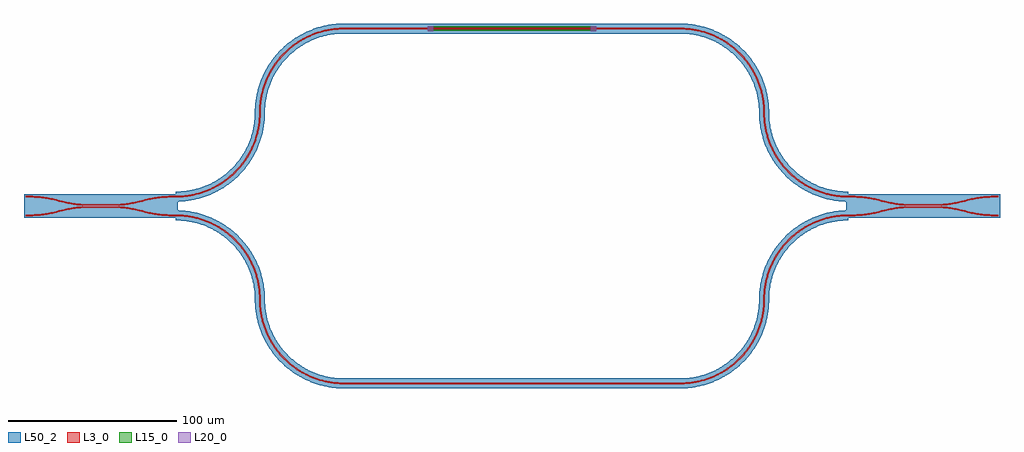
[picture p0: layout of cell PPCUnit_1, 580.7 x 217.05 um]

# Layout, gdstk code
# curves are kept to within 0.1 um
import gdstk
lib = gdstk.Library(unit=1e-6, precision=1e-09)
def R(c, l, rs):  # rectangles x0, y0, x1, y1
    for r in rs: c.add(gdstk.rectangle(r[:2], r[2:], *l))
def P(c, l, *ps):  # polygons
    for p in ps: c.add(gdstk.Polygon(p, *l))
L3_0 = (3, 0)
L15_0 = (15, 0)
L20_0 = (20, 0)
L50_2 = (50, 2)

sin_directional_coupler_ = lib.new_cell('SIN_DIRECTIONAL_COUPLER_S_9348')
P(sin_directional_coupler_, L3_0, [(-44.674,6.025),(-39.419,5.935),(-33.984,5.437),(-28.61,4.495),(-21.596,2.773),(-17.374,1.925),(-12.033,1.256),(-7.731,1.04),(7.731,1.04),(12.033,1.256),(18.435,2.111),(29.678,4.718),(35.068,5.573),(39.419,5.935),(44.674,6.025),(44.674,5.125),(38.389,4.974),(33.038,4.394),(28.802,3.615),(19.67,1.432),(13.195,0.459),(7.747,0.14),(-7.747,0.14),(-13.195,0.459),(-17.522,1.037),(-21.802,1.897),(-28.802,3.615),(-34.104,4.545),(-39.465,5.037),(-44.674,5.125)],
  [(-44.674,-5.125),(-38.389,-4.974),(-33.038,-4.394),(-28.802,-3.615),(-19.67,-1.432),(-13.195,-0.459),(-7.747,-0.14),(7.747,-0.14),(13.195,-0.459),(17.522,-1.037),(21.802,-1.897),(28.802,-3.615),(34.104,-4.545),(39.465,-5.037),(44.674,-5.125),(44.674,-6.025),(39.419,-5.935),(33.984,-5.437),(28.61,-4.495),(21.596,-2.773),(17.374,-1.925),(12.033,-1.256),(7.731,-1.04),(-7.731,-1.04),(-12.033,-1.256),(-18.435,-2.111),(-29.678,-4.718),(-35.068,-5.573),(-39.419,-5.935),(-44.674,-6.025)])
R(sin_directional_coupler_, L50_2, [(-45.674,-7.025,45.674,7.025)])

heated_waveguide_1 = lib.new_cell('HEATED_WAVEGUIDE_1')
R(heated_waveguide_1, L3_0, [(0,-0.45,100,0.45)])
R(heated_waveguide_1, L15_0, [(0,-1.3,100,-0.7), (0,0.7,100,1.3)])
R(heated_waveguide_1, L20_0, [(0,-1.5,3,1.5), (97,-1.5,100,1.5)])
P(heated_waveguide_1, L50_2, [(0,-2.95),(100,-2.95),(100,-0.45),(100,0.45),(100,2.95),(0,2.95),(0,0.45),(0,-0.45)])

wg_trace_1 = lib.new_cell('WG_TRACE_1')
R(wg_trace_1, L3_0, [(0,-0.45,100,0.45)])
P(wg_trace_1, L50_2, [(0,-2.95),(100,-2.95),(100,-0.45),(100,0.45),(100,2.95),(0,2.95),(0,0.45),(0,-0.45)])

ppcunit_1_ht_in_to_dc_1_ = lib.new_cell('PPCUnit_1_ht_in_to_dc_1_out2')
P(ppcunit_1_ht_in_to_dc_1_, L3_0, [(239.348,111.6),(189.346,111.6),(184.075,111.324),(180.587,110.834),(177.999,110.307),(175.442,109.646),(172.093,108.558),(168.828,107.238),(166.444,106.101),(163.364,104.394),(161.137,102.975),(158.288,100.905),(155.59,98.642),(153.057,96.196),(150.701,93.579),(148.533,90.804),(146.564,87.884),(144.803,84.835),(143.26,81.67),(141.94,78.405),(141.102,75.9),(140.191,72.499),(139.664,69.911),(139.021,64.669),(138.83,58.557),(138.529,55.111),(137.988,51.695),(136.979,47.492),(135.29,42.588),(133.497,38.655),(130.904,34.163),(128.394,30.644),(126.744,28.642),(124.385,26.113),(120.531,22.642),(116.335,19.594),(111.843,17.001),(107.91,15.208),(103.006,13.519),(99.65,12.683),(96.244,12.082),(92.804,11.721),(89.348,11.6),(89.348,10.7),(94.621,10.976),(98.109,11.466),(100.697,11.993),(103.254,12.654),(106.603,13.742),(111.464,15.806),(113.807,17.025),(116.825,18.839),(121.097,21.943),(125.022,25.476),(126.84,27.392),(129.103,30.09),(131.659,33.673),(134.299,38.246),(136.447,43.07),(137.844,47.244),(138.696,50.661),(139.422,55.002),(139.729,58.51),(139.919,64.606),(140.551,69.754),(141.068,72.296),(141.963,75.637),(142.786,78.097),(144.082,81.304),(145.598,84.412),(147.327,87.407),(149.261,90.275),(151.391,93),(153.705,95.57),(156.193,97.973),(158.842,100.196),(161.64,102.229),(164.573,104.062),(166.853,105.299),(169.987,106.761),(172.401,107.712),(175.69,108.781),(178.202,109.43),(183.309,110.331),(186.755,110.632),(189.35,110.7),(239.348,110.7)])
P(ppcunit_1_ht_in_to_dc_1_, L50_2, [(239.348,114.1),(189.335,114.1),(182.895,113.705),(176.538,112.527),(170.372,110.583),(164.489,107.902),(158.977,104.524),(156.025,102.3),(153.236,99.875),(150.623,97.262),(148.198,94.473),(145.974,91.521),(143.961,88.421),(140.976,82.687),(138.712,76.631),(137.202,70.345),(136.527,64.844),(136.14,56.232),(135.683,52.98),(134.795,48.973),(133.56,45.058),(131.99,41.266),(129.678,36.918),(127.412,33.495),(124.313,29.667),(120.216,25.641),(115.658,22.144),(110.708,19.228),(105.44,16.938),(99.932,15.306),(94.266,14.358),(89.348,14.1),(89.348,8.2),(94.883,8.49),(100.357,9.357),(105.71,10.791),(111.726,13.161),(116.619,15.763),(121.947,19.425),(126.13,23.061),(130.498,27.827),(133.756,32.311),(136.1,36.291),(138.089,40.461),(139.984,45.669),(141.141,50.141),(141.903,54.697),(142.226,58.379),(142.413,64.432),(143.013,69.32),(144.354,74.906),(146.366,80.287),(147.805,83.239),(149.447,86.083),(152.783,90.759),(154.938,93.238),(157.26,95.56),(159.739,97.715),(162.361,99.691),(167.259,102.693),(172.487,105.075),(175.592,106.144),(178.764,106.994),(184.43,107.942),(189.361,108.2),(239.348,108.2)])

ppcunit_1_rg_in_to_dc_1_ = lib.new_cell('PPCUnit_1_rg_in_to_dc_1_out1')
P(ppcunit_1_rg_in_to_dc_1_, L3_0, [(239.348,-99.55),(189.35,-99.55),(184.225,-99.284),(178.322,-98.308),(172.58,-96.626),(167.082,-94.265),(161.908,-91.259),(159.127,-89.267),(156.49,-87.089),(154.01,-84.733),(151.698,-82.213),(149.565,-79.538),(147.622,-76.723),(145.878,-73.781),(144.341,-70.725),(142.171,-65.149),(140.689,-59.352),(139.982,-54.271),(139.73,-47.389),(139.43,-43.919),(138.72,-39.624),(137.641,-35.407),(136.204,-31.299),(134.019,-26.555),(131.832,-22.791),(128.791,-18.545),(125.328,-14.636),(122.803,-12.238),(120.803,-10.557),(116.557,-7.516),(113.561,-5.74),(111.237,-4.546),(108.049,-3.144),(105.599,-2.239),(100.574,-0.815),(98.013,-0.3),(94.564,0.18),(89.348,0.45),(89.348,-0.45),(92.767,-0.568),(96.169,-0.922),(99.538,-1.509),(102.86,-2.328),(107.716,-3.98),(112.375,-6.126),(116.788,-8.741),(120.906,-11.799),(124.686,-15.267),(128.615,-19.779),(131.529,-24.001),(133.613,-27.734),(135.368,-31.632),(137.02,-36.488),(137.839,-39.81),(138.537,-44.027),(138.832,-47.435),(139.086,-54.349),(139.805,-59.522),(140.364,-62.073),(141.314,-65.424),(142.176,-67.89),(143.523,-71.102),(145.088,-74.213),(146.864,-77.209),(148.842,-80.075),(151.014,-82.798),(153.368,-85.364),(155.893,-87.762),(158.578,-89.98),(161.41,-92.008),(163.622,-93.398),(166.677,-95.069),(169.841,-96.526),(172.275,-97.473),(175.591,-98.538),(178.122,-99.185),(180.683,-99.7),(184.132,-100.18),(189.346,-100.45),(239.348,-100.45)])
P(ppcunit_1_rg_in_to_dc_1_, L50_2, [(239.348,-97.05),(189.361,-97.05),(184.484,-96.798),(178.878,-95.87),(173.426,-94.274),(168.205,-92.032),(163.293,-89.177),(160.652,-87.286),(158.148,-85.217),(155.793,-82.981),(153.597,-80.587),(151.572,-78.048),(149.727,-75.375),(148.071,-72.581),(146.611,-69.679),(144.551,-64.385),(143.144,-58.88),(142.473,-54.056),(142.227,-47.259),(141.912,-43.618),(141.166,-39.11),(140.035,-34.684),(138.18,-29.526),(136.233,-25.393),(133.438,-20.678),(130.746,-16.986),(127.111,-12.883),(122.362,-8.602),(117.131,-4.924),(112.322,-2.294),(107.267,-0.174),(101.131,1.623),(95.73,2.564),(89.348,2.95),(89.348,-2.95),(95.019,-3.293),(100.608,-4.317),(106.032,-6.008),(111.213,-8.339),(115.403,-10.823),(119.935,-14.249),(124.022,-18.197),(127.602,-22.608),(129.821,-26.008),(131.738,-29.586),(133.34,-33.316),(134.615,-37.17),(135.392,-40.324),(136.055,-44.329),(136.335,-47.565),(136.595,-54.564),(137.35,-59.994),(138.933,-66.189),(141.252,-72.147),(142.895,-75.413),(144.759,-78.557),(146.835,-81.565),(149.114,-84.423),(151.585,-87.117),(154.236,-89.634),(157.054,-91.962),(160.026,-94.09),(163.137,-96.008),(166.374,-97.706),(169.72,-99.178),(173.159,-100.415),(176.676,-101.411),(180.253,-102.163),(183.874,-102.666),(187.52,-102.919),(239.348,-102.95)])

ppcunit_1_ht_out_to_dc_2 = lib.new_cell('PPCUnit_1_ht_out_to_dc_2_in2')
P(ppcunit_1_ht_out_to_dc_2, L3_0, [(339.348,110.7),(389.346,110.7),(394.471,110.434),(400.374,109.458),(406.116,107.776),(411.614,105.415),(416.788,102.409),(419.569,100.417),(422.206,98.239),(424.686,95.883),(426.998,93.363),(429.131,90.688),(431.074,87.873),(432.818,84.931),(434.355,81.875),(436.525,76.299),(438.007,70.502),(438.714,65.421),(438.966,58.539),(439.266,55.069),(439.976,50.774),(441.055,46.557),(442.492,42.449),(444.677,37.705),(446.864,33.941),(449.905,29.695),(453.368,25.786),(455.893,23.388),(457.893,21.707),(462.139,18.666),(465.135,16.89),(467.459,15.696),(470.647,14.294),(473.097,13.389),(478.122,11.965),(480.683,11.45),(484.132,10.97),(489.348,10.7),(489.348,11.6),(485.929,11.718),(482.527,12.072),(479.158,12.659),(475.836,13.478),(470.98,15.13),(466.321,17.276),(461.908,19.891),(457.79,22.949),(454.01,26.417),(450.081,30.929),(447.167,35.151),(445.083,38.884),(443.328,42.782),(441.676,47.638),(440.857,50.96),(440.159,55.177),(439.864,58.585),(439.61,65.499),(438.891,70.672),(438.332,73.223),(437.382,76.574),(436.52,79.04),(435.173,82.252),(433.608,85.363),(431.832,88.359),(429.854,91.225),(427.682,93.948),(425.328,96.514),(422.803,98.912),(420.118,101.13),(417.286,103.158),(415.074,104.548),(412.019,106.219),(408.855,107.676),(406.421,108.623),(403.105,109.688),(400.574,110.335),(398.013,110.85),(394.564,111.33),(389.35,111.6),(339.348,111.6)])
P(ppcunit_1_ht_out_to_dc_2, L50_2, [(339.348,108.2),(389.335,108.2),(394.212,107.948),(399.818,107.02),(405.27,105.424),(410.491,103.182),(415.403,100.327),(418.044,98.436),(420.548,96.367),(422.903,94.131),(425.099,91.737),(427.124,89.198),(428.969,86.525),(430.625,83.731),(432.085,80.829),(434.145,75.535),(435.552,70.03),(436.223,65.206),(436.469,58.409),(436.784,54.768),(437.53,50.26),(438.661,45.834),(440.516,40.676),(442.463,36.543),(445.258,31.828),(447.95,28.136),(451.585,24.033),(456.334,19.752),(461.565,16.074),(466.374,13.444),(471.429,11.324),(477.565,9.527),(482.966,8.586),(489.348,8.2),(489.348,14.1),(483.677,14.443),(478.088,15.467),(472.664,17.158),(467.483,19.489),(463.293,21.973),(458.761,25.399),(454.674,29.347),(451.094,33.758),(448.875,37.158),(446.958,40.736),(445.356,44.466),(444.081,48.32),(443.304,51.474),(442.641,55.479),(442.361,58.715),(442.101,65.714),(441.346,71.144),(439.763,77.339),(437.444,83.297),(435.801,86.563),(433.937,89.707),(431.861,92.715),(429.582,95.573),(427.111,98.267),(424.46,100.784),(421.642,103.112),(418.67,105.24),(415.559,107.158),(412.322,108.856),(408.976,110.328),(405.537,111.565),(402.02,112.561),(398.443,113.313),(394.822,113.816),(391.176,114.069),(339.348,114.1)])

ppcunit_1_rg_out_to_dc_2 = lib.new_cell('PPCUnit_1_rg_out_to_dc_2_in1')
P(ppcunit_1_rg_out_to_dc_2, L3_0, [(339.348,-100.45),(389.35,-100.45),(394.564,-100.18),(398.013,-99.7),(400.574,-99.185),(403.105,-98.538),(406.421,-97.473),(408.855,-96.526),(412.019,-95.069),(415.074,-93.398),(417.286,-92.008),(420.118,-89.98),(422.803,-87.762),(425.328,-85.364),(427.682,-82.798),(429.854,-80.075),(431.832,-77.209),(433.608,-74.213),(435.173,-71.102),(436.52,-67.89),(437.382,-65.424),(438.332,-62.073),(438.891,-59.522),(439.61,-54.349),(439.864,-47.435),(440.159,-44.027),(440.857,-39.81),(441.676,-36.488),(443.328,-31.632),(445.083,-27.734),(447.167,-24.001),(450.081,-19.779),(454.01,-15.267),(457.79,-11.799),(461.908,-8.741),(466.321,-6.126),(470.98,-3.98),(475.836,-2.328),(479.158,-1.509),(482.527,-0.922),(485.929,-0.568),(489.348,-0.45),(489.348,0.45),(484.132,0.18),(480.683,-0.3),(478.122,-0.815),(473.097,-2.239),(470.647,-3.144),(467.459,-4.546),(465.135,-5.74),(462.139,-7.516),(457.893,-10.557),(453.984,-14.02),(451.586,-16.545),(449.905,-18.545),(446.864,-22.791),(444.677,-26.555),(442.492,-31.299),(441.055,-35.407),(439.976,-39.624),(439.266,-43.919),(438.966,-47.389),(438.714,-54.271),(438.007,-59.352),(436.525,-65.149),(434.355,-70.725),(432.818,-73.781),(431.074,-76.723),(429.131,-79.538),(426.998,-82.213),(424.686,-84.733),(422.206,-87.089),(419.569,-89.267),(416.788,-91.259),(412.375,-93.874),(406.919,-96.33),(401.206,-98.11),(395.321,-99.189),(389.346,-99.55),(339.348,-99.55)])
P(ppcunit_1_rg_out_to_dc_2, L50_2, [(339.348,-102.95),(389.361,-102.95),(395.73,-102.564),(399.342,-101.998),(402.905,-101.185),(408.976,-99.178),(414.761,-96.453),(420.175,-93.051),(423.071,-90.822),(425.807,-88.398),(428.37,-85.791),(430.746,-83.014),(434.424,-77.783),(436.233,-74.607),(437.819,-71.314),(440.035,-65.316),(441.511,-59.095),(442.172,-53.653),(442.55,-45.136),(442.997,-41.919),(443.866,-37.953),(445.074,-34.078),(446.611,-30.321),(448.875,-26.008),(451.094,-22.608),(454.674,-18.197),(458.761,-14.249),(463.293,-10.823),(467.483,-8.339),(472.664,-6.008),(478.088,-4.317),(483.677,-3.293),(489.348,-2.95),(489.348,2.95),(482.966,2.564),(477.565,1.623),(471.429,-0.174),(466.374,-2.294),(461.565,-4.924),(456.334,-8.602),(452.231,-12.237),(447.95,-16.986),(445.258,-20.678),(442.463,-25.393),(440.516,-29.526),(438.661,-34.684),(437.53,-39.11),(436.784,-43.618),(436.469,-47.259),(436.286,-53.246),(435.699,-58.081),(434.387,-63.609),(432.418,-68.939),(431.009,-71.865),(429.401,-74.687),(427.602,-77.392),(425.621,-79.966),(423.467,-82.397),(421.151,-84.674),(416.74,-88.254),(411.929,-91.277),(406.789,-93.698),(401.395,-95.482),(398.228,-96.204),(395.019,-96.707),(389.335,-97.05),(339.348,-97.05)])

ppcunit_1 = lib.new_cell('PPCUnit_1')
ppcunit_1.add(gdstk.Reference(sin_directional_coupler_, (44.674,5.575)))
ppcunit_1.add(gdstk.Reference(sin_directional_coupler_, (534.022,5.575)))
ppcunit_1.add(gdstk.Reference(heated_waveguide_1, (239.348,111.15)))
ppcunit_1.add(gdstk.Reference(wg_trace_1, (239.348,-100)))
ppcunit_1.add(gdstk.Reference(ppcunit_1_ht_in_to_dc_1_, (0,0)))
ppcunit_1.add(gdstk.Reference(ppcunit_1_rg_in_to_dc_1_, (0,0)))
ppcunit_1.add(gdstk.Reference(ppcunit_1_ht_out_to_dc_2, (0,0)))
ppcunit_1.add(gdstk.Reference(ppcunit_1_rg_out_to_dc_2, (0,0)))

lib.write_gds('PPCUnit_1.gds')
